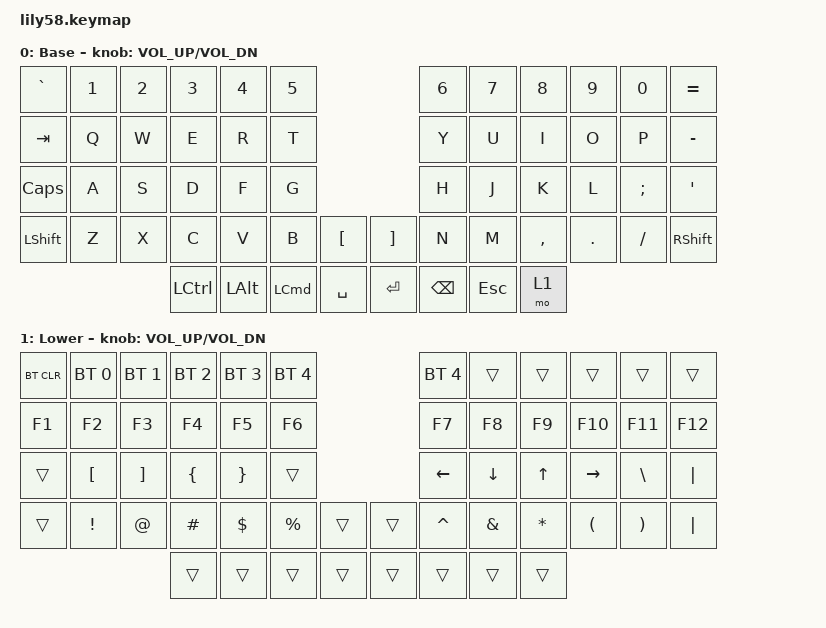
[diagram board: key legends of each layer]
/*
 * Copyright (c) 2020 The ZMK Contributors
 *
 * SPDX-License-Identifier: MIT
 */

#include <behaviors.dtsi>
#include <dt-bindings/zmk/bt.h>
#include <dt-bindings/zmk/keys.h>

/ {
    keymap {
        compatible = "zmk,keymap";

        default_layer {
            // ------------------------------------------------------------------------------------------------------------
            // |  ESC  |  1  |  2  |  3   |  4   |  5   |                   |  6   |  7    |  8    |  9   |   0   |   `   |
            // |  TAB  |  Q  |  W  |  E   |  R   |  T   |                   |  Y   |  U    |  I    |  O   |   P   |   -   |
            // |  CTRL |  A  |  S  |  D   |  F   |  G   |                   |  H   |  J    |  K    |  L   |   ;   |   '   |
            // | SHIFT |  Z  |  X  |  C   |  V   |  B   |   "["  |  |  "]"  |  N   |  M    |  ,    |  .   |   /   | SHIFT |
            //                     | ALT  | GUI  | LOWER|  SPACE |  | ENTER | RAISE| BSPC  | GUI   |

            display-name = "Base";
            bindings = <
&kp GRAVE     &kp N1  &kp N2  &kp N3            &kp N4        &kp N5                                   &kp N6         &kp N7      &kp N8     &kp N9   &kp N0    &kp EQUAL
&kp TAB       &kp Q   &kp W   &kp E             &kp R         &kp T                                    &kp Y          &kp U       &kp I      &kp O    &kp P     &kp MINUS
&kp CAPSLOCK  &kp A   &kp S   &kp D             &kp F         &kp G                                    &kp H          &kp J       &kp K      &kp L    &kp SEMI  &kp SQT
&kp LSHFT     &kp Z   &kp X   &kp C             &kp V         &kp B             &kp LBKT     &kp RBKT  &kp N          &kp M       &kp COMMA  &kp DOT  &kp FSLH  &kp RSHFT
                              &kp LEFT_CONTROL  &kp LEFT_ALT  &kp LEFT_COMMAND  &kp SPACE    &kp RET   &kp BACKSPACE  &kp ESCAPE  &mo 1
            >;

            sensor-bindings = <&inc_dec_kp C_VOL_UP C_VOL_DN>;
        };

        lower_layer {
            // ------------------------------------------------------------------------------------------------------------
            // | BTCLR | BT1 | BT2 |  BT3 |  BT4 |  BT5 |                   |      |       |       |      |       |       |
            // |  F1   |  F2 |  F3 |  F4  |  F5  |  F6  |                   |  F7  |  F8   |  F9   |  F10 |  F11  |  F12  |
            // |   `   |  !  |  @  |  #   |  $   |  %   |                   |  ^   |  &    |  *    |  (   |   )   |   ~   |
            // |       |     |     |      |      |      |        |  |       |      |  _    |  +    |  {   |   }   |  "|"  |
            //                     |      |      |      |        |  |       |      |       |       |

            display-name = "Lower";
            bindings = <
&bt BT_CLR  &bt BT_SEL 0      &bt BT_SEL 1       &bt BT_SEL 2    &bt BT_SEL 3     &bt BT_SEL 4                    &bt BT_SEL 4    &trans          &trans        &trans                &trans                 &trans
&kp F1      &kp F2            &kp F3             &kp F4          &kp F5           &kp F6                          &kp F7          &kp F8          &kp F9        &kp F10               &kp F11                &kp F12
&trans      &kp LEFT_BRACKET  &kp RIGHT_BRACKET  &kp LEFT_BRACE  &kp RIGHT_BRACE  &trans                          &kp LEFT_ARROW  &kp DOWN_ARROW  &kp UP_ARROW  &kp RIGHT_ARROW       &kp BACKSLASH          &kp PIPE
&trans      &kp EXCL          &kp AT             &kp HASH        &kp DOLLAR       &kp PERCENT   &trans    &trans  &kp CARET       &kp AMPERSAND   &kp ASTERISK  &kp LEFT_PARENTHESIS  &kp RIGHT_PARENTHESIS  &kp PIPE
                                                 &trans          &trans           &trans        &trans    &trans  &trans          &trans          &trans
            >;

            sensor-bindings = <&inc_dec_kp C_VOL_UP C_VOL_DN>;
        };
    };
};
